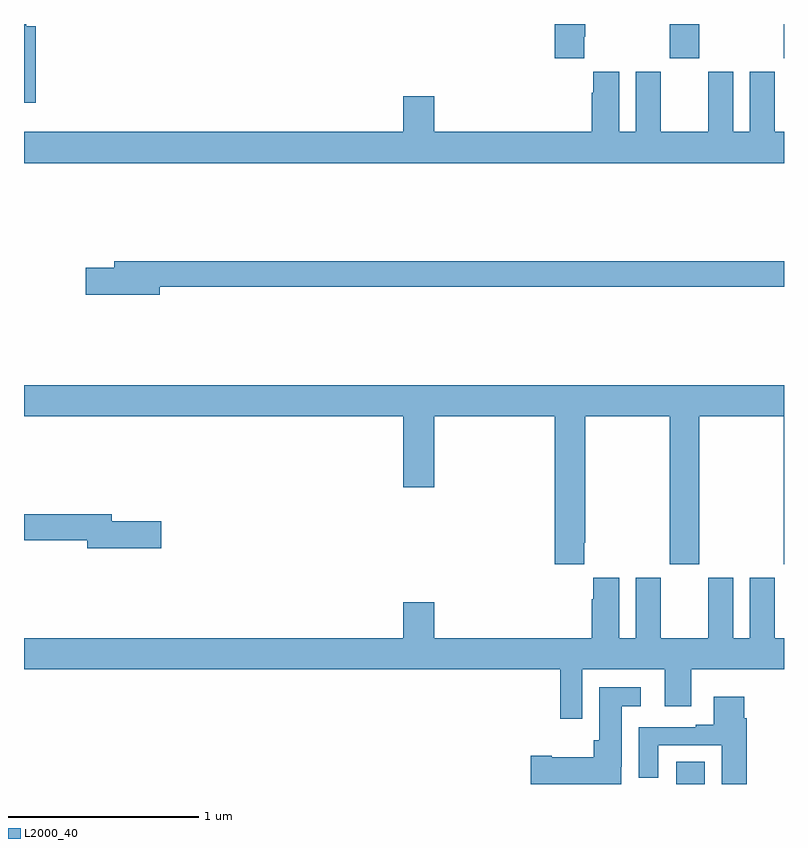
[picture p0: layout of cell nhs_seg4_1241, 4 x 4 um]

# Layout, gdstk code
import gdstk
lib = gdstk.Library(unit=1e-6, precision=1e-09)
def R(c, l, rs):  # rectangles x0, y0, x1, y1
    for r in rs: c.add(gdstk.rectangle(r[:2], r[2:], *l))
def P(c, l, *ps):  # polygons
    for p in ps: c.add(gdstk.Polygon(p, *l))
L2000_40 = (2000, 40)

nhs_seg4_1241 = lib.new_cell('nhs_seg4_1241')
R(nhs_seg4_1241, L2000_40, [(178.433,778.9,178.582,779.018), (178.399,782.721,178.554,782.9), (178.999,782.721,179,782.9)])
P(nhs_seg4_1241, L2000_40, [(175.061,782.887),(175.013,782.887),(175.013,782.9),(175,782.9),(175,782.486),(175.061,782.486)],
  [(177.949,782.833),(177.954,782.833),(177.954,782.9),(177.794,782.9),(177.794,782.721),(177.949,782.721)],
  [(179,782.332),(178.951,782.332),(178.951,782.65),(178.82,782.65),(178.82,782.332),(178.732,782.332),(178.732,782.65),(178.601,782.65),(178.601,782.332),(178.351,782.332),(178.351,782.65),(178.22,782.65),(178.22,782.332),(178.132,782.332),(178.132,782.65),(177.995,782.65),(177.995,782.537),(177.989,782.537),(177.989,782.332),(177.16,782.332),(177.16,782.521),(176.996,782.521),(176.996,782.332),(175,782.332),(175,782.168),(179,782.168)],
  [(175.714,781.516),(179,781.516),(179,781.652),(175.475,781.652),(175.475,781.616),(175.326,781.616),(175.326,781.474),(175.714,781.474)],
  [(177.949,780.169),(177.954,780.169),(177.954,780.836),(178.399,780.836),(178.399,780.057),(178.554,780.057),(178.554,780.836),(178.999,780.836),(178.999,780.057),(179,780.057),(179,781),(175,781),(175,780.836),(176.996,780.836),(176.996,780.462),(177.16,780.462),(177.16,780.836),(177.794,780.836),(177.794,780.057),(177.949,780.057)],
  [(175.723,780.284),(175.462,780.284),(175.462,780.32),(175,780.32),(175,780.184),(175.334,780.184),(175.334,780.142),(175.723,780.142)],
  [(177.939,779.504),(178.373,779.504),(178.373,779.31),(178.513,779.31),(178.513,779.504),(179,779.504),(179,779.668),(178.951,779.668),(178.951,779.986),(178.82,779.986),(178.82,779.668),(178.732,779.668),(178.732,779.986),(178.601,779.986),(178.601,779.668),(178.351,779.668),(178.351,779.986),(178.22,779.986),(178.22,779.668),(178.132,779.668),(178.132,779.986),(177.995,779.986),(177.995,779.873),(177.989,779.873),(177.989,779.668),(177.16,779.668),(177.16,779.857),(176.996,779.857),(176.996,779.668),(175,779.668),(175,779.504),(177.823,779.504),(177.823,779.244),(177.939,779.244)],
  [(178.143,778.99),(178.147,778.99),(178.147,779.309),(178.246,779.309),(178.246,779.41),(178.028,779.41),(178.028,779.13),(177.998,779.13),(177.998,779.041),(177.778,779.041),(177.778,779.049),(177.666,779.049),(177.666,778.9),(178.143,778.9)],
  [(178.805,779.246),(178.792,779.246),(178.792,779.359),(178.631,779.359),(178.631,779.212),(178.535,779.212),(178.535,779.199),(178.235,779.199),(178.235,778.932),(178.339,778.932),(178.339,779.103),(178.673,779.103),(178.673,778.9),(178.805,778.9)])

lib.write_gds('nhs_seg4_1241.gds')
